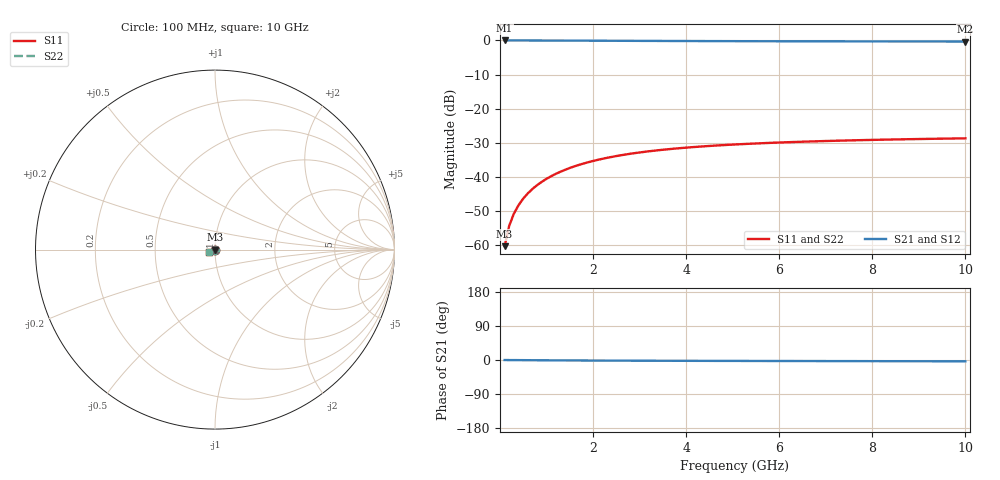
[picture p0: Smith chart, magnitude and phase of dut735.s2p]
! Touchstone file exported from HFSS 2024.1.0
!  File:  C:/UserFiles/LocalFiles/RDL_TSV_Batchsim/temp_TSV1_735_1779869773.aedt
!  Generated:  04:21:05 PM May 27, 2026
!  Design:  TSV1
!  Project:  temp_TSV1_735_1779869773
!  Setup:  Setup1
!  Solution:  Sweep
! Variables:
!  dtsv = 11.77um
!  hbump = 3um
!  htsv = 51.02um
!  lrdl = 252.1521522um
!  p = 40
!  p1 = 42.21um
!  t = 500um
!  trdl = 3um
!  wrdl = 24.89489489um
# GHz S MA R 50.000000
! Terminal data exported
! Port[1] = TSV22_T1
! Port[2] = TSV22_T2
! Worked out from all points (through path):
!   100 points, 100 MHz to 10 GHz, reference 50 ohm
!   highest |S21| = 0.00 dB at 100 MHz (marker M1); lowest = -0.3 dB at 10 GHz (marker M2)
!   lowest |S11| = -60.4 dB at 100 MHz (marker M3), VSWR 1.00, Z = 50 - j0.0958 ohm
!   |S11| at or under -10 dB: start of sweep to end of sweep
!   |S22| runs from -60.4 to -28.7 dB; largest |S21 - S12| = 1.5e-15
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0.1  0.0009601 -86.6  0.9999 -0.1  0.9999 -0.1  0.0009601 -86.6
! Gamma 0 0 0 0
! Port Impedance 50 0 50 0
0.2  0.001925 -90.7  0.9998 -0.2  0.9998 -0.2  0.001925 -90.7
0.3  0.002887 -93.0  0.9997 -0.3  0.9997 -0.3  0.002887 -93.0
0.4  0.003842 -94.9  0.9995 -0.3  0.9995 -0.3  0.003842 -94.9
0.5  0.004789 -96.6  0.9992 -0.4  0.9992 -0.4  0.004789 -96.6
0.6  0.005725 -98.3  0.999 -0.5  0.999 -0.5  0.005725 -98.3
0.7  0.00665 -99.9  0.9986 -0.6  0.9986 -0.6  0.00665 -99.9
0.8  0.007561 -101.4  0.9983 -0.7  0.9983 -0.7  0.007561 -101.4
0.9  0.008457 -102.9  0.9979 -0.7  0.9979 -0.7  0.008457 -102.9
1.1  0.0102 -105.8  0.9969 -0.9  0.9969 -0.9  0.0102 -105.8
1.4  0.01267 -109.9  0.9954 -1.1  0.9954 -1.1  0.01267 -109.9
1.6  0.01422 -112.5  0.9942 -1.2  0.9942 -1.2  0.01422 -112.5
1.8  0.01568 -115.0  0.993 -1.3  0.993 -1.3  0.01568 -115.0
2.1  0.01772 -118.6  0.9912 -1.5  0.9912 -1.5  0.01772 -118.6
2.5  0.02014 -122.9  0.9888 -1.7  0.9888 -1.7  0.02014 -122.9
2.9  0.02225 -126.8  0.9864 -1.8  0.9864 -1.8  0.02225 -126.8
3.4  0.02452 -131.2  0.9836 -2.0  0.9836 -2.0  0.02452 -131.2
4.2  0.02742 -137.0  0.9797 -2.2  0.9797 -2.2  0.02742 -137.0
5.1  0.02991 -142.4  0.976 -2.5  0.976 -2.5  0.02991 -142.4
6.7  0.03302 -149.7  0.971 -2.8  0.971 -2.8  0.03302 -149.7
8.4  0.03522 -155.6  0.9674 -3.1  0.9674 -3.1  0.03522 -155.6
10  0.03665 -160.0  0.965 -3.5  0.965 -3.5  0.03665 -160.0
